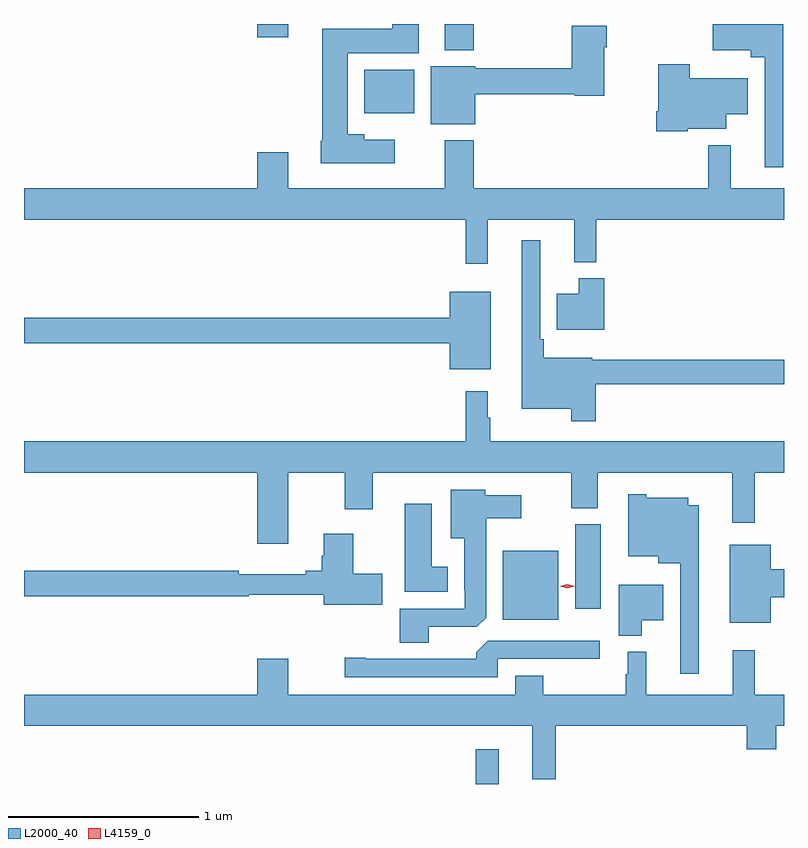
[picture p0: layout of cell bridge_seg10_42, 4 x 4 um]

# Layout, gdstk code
import gdstk
lib = gdstk.Library(unit=1e-6, precision=1e-09)
def R(c, l, rs):  # rectangles x0, y0, x1, y1
    for r in rs: c.add(gdstk.rectangle(r[:2], r[2:], *l))
def P(c, l, *ps):  # polygons
    for p in ps: c.add(gdstk.Polygon(p, *l))
L2000_40 = (2000, 40)
L4159_0 = (4159, 0)

bridge_seg10_42 = lib.new_cell('bridge_seg10_42')
R(bridge_seg10_42, L2000_40, [(921.402,1304.005,921.523,1304.188), (921.545,1304.87,921.838,1305.232), (921.926,1304.928,922.06,1305.372), (920.816,1307.534,921.079,1307.764), (921.239,1307.867,921.392,1308.005), (920.252,1307.934,920.416,1308.005)])
P(bridge_seg10_42, L2000_40, [(920.977,1307.395),(920.815,1307.395),(920.815,1307.425),(920.728,1307.425),(920.728,1307.852),(921.103,1307.852),(921.103,1308.005),(920.963,1308.005),(920.963,1307.98),(920.594,1307.98),(920.594,1307.391),(920.588,1307.391),(920.588,1307.273),(920.977,1307.273)],
  [(923.02,1308.005),(922.65,1308.005),(922.65,1307.867),(922.85,1307.867),(922.85,1307.831),(922.923,1307.831),(922.923,1307.25),(923.02,1307.25)],
  [(921.4,1307.635),(921.924,1307.635),(921.924,1307.627),(922.078,1307.627),(922.078,1307.882),(922.091,1307.882),(922.091,1307.995),(921.908,1307.995),(921.908,1307.771),(921.4,1307.771),(921.4,1307.782),(921.167,1307.782),(921.167,1307.477),(921.4,1307.477)],
  [(922.518,1307.453),(922.72,1307.453),(922.72,1307.531),(922.834,1307.531),(922.834,1307.719),(922.53,1307.719),(922.53,1307.794),(922.364,1307.794),(922.364,1307.545),(922.352,1307.545),(922.352,1307.441),(922.518,1307.441)],
  [(921.467,1306.976),(921.92,1306.976),(921.92,1306.751),(922.037,1306.751),(922.037,1306.976),(923.025,1306.976),(923.025,1307.14),(922.745,1307.14),(922.745,1307.368),(922.627,1307.368),(922.627,1307.14),(921.392,1307.14),(921.392,1307.392),(921.239,1307.392),(921.239,1307.14),(920.416,1307.14),(920.416,1307.329),(920.252,1307.329),(920.252,1307.14),(919.025,1307.14),(919.025,1306.976),(921.349,1306.976),(921.349,1306.743),(921.467,1306.743)],
  [(922.034,1306.11),(923.025,1306.11),(923.025,1306.238),(922.015,1306.238),(922.015,1306.249),(921.761,1306.249),(921.761,1306.345),(921.741,1306.345),(921.741,1306.867),(921.644,1306.867),(921.644,1305.98),(921.906,1305.98),(921.906,1305.915),(922.034,1305.915)],
  [(922.079,1306.666),(921.944,1306.666),(921.944,1306.585),(921.83,1306.585),(921.83,1306.397),(922.079,1306.397)],
  [(921.481,1306.597),(921.266,1306.597),(921.266,1306.46),(919.025,1306.46),(919.025,1306.324),(921.266,1306.324),(921.266,1306.187),(921.481,1306.187)],
  [(921.478,1305.932),(921.466,1305.932),(921.466,1306.072),(921.349,1306.072),(921.349,1305.808),(919.025,1305.808),(919.025,1305.644),(920.252,1305.644),(920.252,1305.27),(920.416,1305.27),(920.416,1305.644),(920.713,1305.644),(920.713,1305.45),(920.86,1305.45),(920.86,1305.644),(921.905,1305.644),(921.905,1305.457),(922.045,1305.457),(922.045,1305.644),(922.753,1305.644),(922.753,1305.381),(922.871,1305.381),(922.871,1305.644),(923.025,1305.644),(923.025,1305.808),(921.478,1305.808)],
  [(921.154,1304.832),(921.408,1304.832),(921.457,1304.881),(921.457,1305.404),(921.643,1305.404),(921.643,1305.526),(921.453,1305.526),(921.453,1305.553),(921.272,1305.553),(921.272,1305.299),(921.341,1305.299),(921.341,1305.025),(921.345,1305.025),(921.345,1304.928),(921.002,1304.928),(921.002,1304.749),(921.154,1304.749)],
  [(922.576,1305.472),(922.522,1305.472),(922.522,1305.511),(922.299,1305.511),(922.299,1305.529),(922.205,1305.529),(922.205,1305.203),(922.364,1305.203),(922.364,1305.167),(922.479,1305.167),(922.479,1304.586),(922.576,1304.586)],
  [(921.256,1305.148),(921.172,1305.148),(921.172,1305.481),(921.029,1305.481),(921.029,1305.017),(921.256,1305.017)],
  [(920.911,1305.111),(920.758,1305.111),(920.758,1305.322),(920.603,1305.322),(920.603,1305.207),(920.591,1305.207),(920.591,1305.128),(920.507,1305.128),(920.507,1305.109),(920.156,1305.109),(920.156,1305.128),(919.025,1305.128),(919.025,1304.992),(920.207,1304.992),(920.207,1305),(920.603,1305),(920.603,1304.948),(920.911,1304.948)],
  [(922.954,1304.987),(923.025,1304.987),(923.025,1305.134),(922.954,1305.134),(922.954,1305.265),(922.739,1305.265),(922.739,1304.855),(922.954,1304.855)],
  [(922.276,1304.867),(922.39,1304.867),(922.39,1305.055),(922.154,1305.055),(922.154,1304.786),(922.276,1304.786)],
  [(921.519,1304.664),(922.054,1304.664),(922.054,1304.76),(921.465,1304.76),(921.404,1304.698),(921.404,1304.664),(920.824,1304.664),(920.824,1304.669),(920.712,1304.669),(920.712,1304.568),(921.519,1304.568)],
  [(921.823,1304.312),(922.829,1304.312),(922.829,1304.188),(922.985,1304.188),(922.985,1304.312),(923.025,1304.312),(923.025,1304.476),(922.871,1304.476),(922.871,1304.71),(922.754,1304.71),(922.754,1304.476),(922.301,1304.476),(922.301,1304.701),(922.202,1304.701),(922.202,1304.583),(922.191,1304.583),(922.191,1304.476),(921.759,1304.476),(921.759,1304.575),(921.611,1304.575),(921.611,1304.476),(920.416,1304.476),(920.416,1304.665),(920.252,1304.665),(920.252,1304.476),(919.025,1304.476),(919.025,1304.312),(921.701,1304.312),(921.701,1304.031),(921.823,1304.031)])
P(bridge_seg10_42, L4159_0, [(921.884,1305.036),(921.844,1305.046),(921.844,1305.046),(921.844,1305.046),(921.884,1305.056),(921.924,1305.046),(921.924,1305.046),(921.924,1305.046)])

lib.write_gds('bridge_seg10_42.gds')
